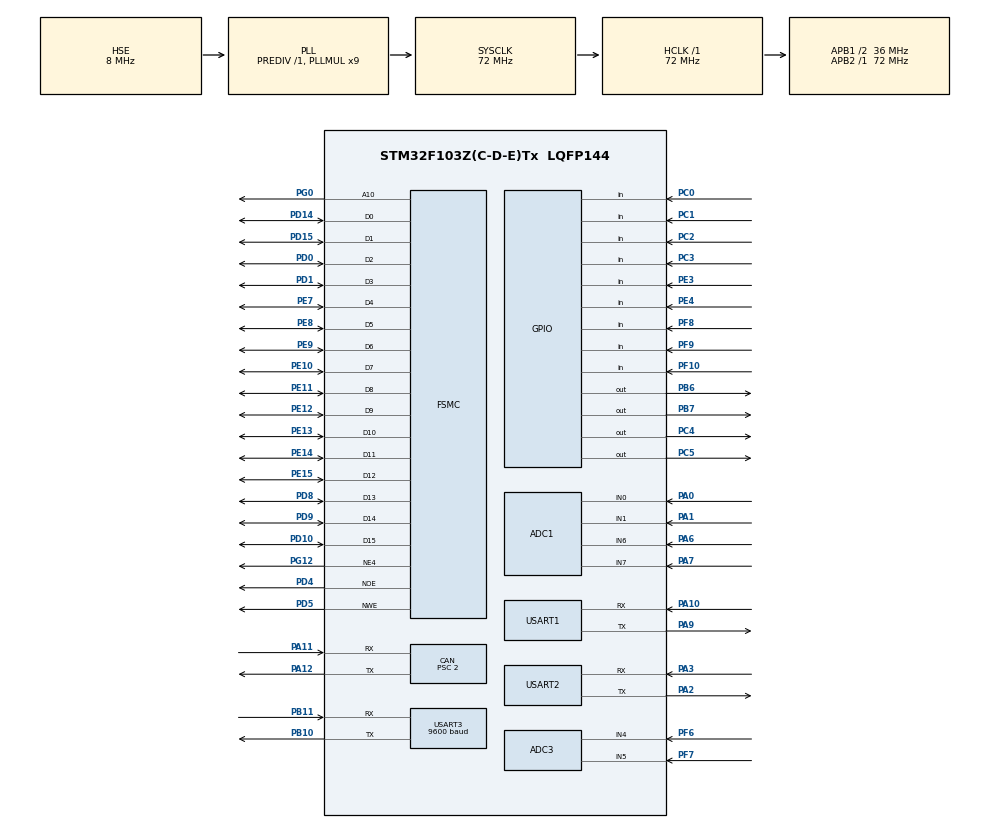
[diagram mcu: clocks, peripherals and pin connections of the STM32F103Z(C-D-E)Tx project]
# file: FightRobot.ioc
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ADC1.Channel-10\#ChannelRegularConversion=ADC_CHANNEL_7
ADC1.Channel-7\#ChannelRegularConversion=ADC_CHANNEL_0
ADC1.Channel-8\#ChannelRegularConversion=ADC_CHANNEL_1
ADC1.Channel-9\#ChannelRegularConversion=ADC_CHANNEL_6
ADC1.DiscontinuousConvMode=ENABLE
ADC1.NbrOfConversion=4
ADC1.NbrOfConversionFlag=1
ADC1.Rank-10\#ChannelRegularConversion=4
ADC1.Rank-7\#ChannelRegularConversion=1
ADC1.Rank-8\#ChannelRegularConversion=2
ADC1.Rank-9\#ChannelRegularConversion=3
ADC1.SamplingTime-10\#ChannelRegularConversion=ADC_SAMPLETIME_55CYCLES_5
ADC1.SamplingTime-7\#ChannelRegularConversion=ADC_SAMPLETIME_55CYCLES_5
ADC1.SamplingTime-8\#ChannelRegularConversion=ADC_SAMPLETIME_55CYCLES_5
ADC1.SamplingTime-9\#ChannelRegularConversion=ADC_SAMPLETIME_55CYCLES_5
ADC1.master=1
ADC3.Channel-2\#ChannelRegularConversion=ADC_CHANNEL_4
ADC3.Channel-3\#ChannelRegularConversion=ADC_CHANNEL_5
ADC3.DiscontinuousConvMode=ENABLE
ADC3.NbrOfConversion=2
ADC3.NbrOfConversionFlag=1
ADC3.Rank-2\#ChannelRegularConversion=1
ADC3.Rank-3\#ChannelRegularConversion=2
ADC3.SamplingTime-2\#ChannelRegularConversion=ADC_SAMPLETIME_55CYCLES_5
ADC3.SamplingTime-3\#ChannelRegularConversion=ADC_SAMPLETIME_55CYCLES_5
CAN.BS1=CAN_BS1_9TQ
CAN.BS2=CAN_BS2_8TQ
CAN.CalculateBaudRate=1000000
CAN.CalculateTimeBit=1000
CAN.CalculateTimeQuantum=55.55555555555556
CAN.Prescaler=2
Dma.Request0=USART2_RX
Dma.USART2_RX.0.Direction=DMA_PERIPH_TO_MEMORY
Dma.USART2_RX.0.Instance=DMA1_Channel6
Dma.USART2_RX.0.MemDataAlignment=DMA_MDATAALIGN_BYTE
Dma.USART2_RX.0.MemInc=DMA_MINC_ENABLE
Dma.USART2_RX.0.Mode=DMA_NORMAL
Dma.USART2_RX.0.PeriphDataAlignment=DMA_PDATAALIGN_BYTE
Dma.USART2_RX.0.PeriphInc=DMA_PINC_DISABLE
Dma.USART2_RX.0.Priority=DMA_PRIORITY_LOW
FREERTOS.Tasks01=defaultTask,2,128,StartDefaultTask,Default,NULL,Dynamic,NULL,NULL;move,1,128,MoveTask,Default,NULL,Dynamic,NULL,NULL;pushBox,0,128,PushBoxTask,Default,NULL,Dynamic,NULL,NULL;scanTask,0,128,ScanTask,Default,NULL,Dynamic,NULL,NULL;openmvConnect,1,128,OpenmvConnect,Default,NULL,Dynamic,NULL,NULL;tset,0,128,Test,Default,NULL,Dynamic,NULL,NULL;tick,2,128,TickTask,Default,NULL,Dynamic,NULL,NULL;key,3,128,KeyTask,Default,NULL,Dynamic,NULL,NULL;xiatai,0,128,XiataiTask,Default,NULL,Dynamic,NULL,NULL
FREERTOS.configLIBRARY_MAX_SYSCALL_INTERRUPT_PRIORITY=5
FREERTOS.configTOTAL_HEAP_SIZE=15360
FREERTOS.configUSE_TIMERS=1
FSMC.AddressSetupTime1=2
FSMC.BusTurnAroundDuration1=0
FSMC.DataSetupTime1=16
FSMC.ExtendedAddressSetupTime1=4
FSMC.ExtendedBusTurnAroundDuration1=0
FSMC.ExtendedDataSetupTime1=9
FSMC.ExtendedMode1=FSMC_EXTENDED_MODE_ENABLE
Mcu.Family=STM32F1
Mcu.Name=STM32F103Z(C-D-E)Tx
Mcu.Package=LQFP144
NVIC.ADC1_2_IRQn=true\:5\:0\:false\:false\:true\:true\:true\:true\:true
NVIC.ADC3_IRQn=true\:5\:0\:false\:false\:true\:true\:true\:true\:true
NVIC.DMA1_Channel6_IRQn=true\:5\:0\:false\:false\:true\:true\:false\:true\:true
NVIC.PriorityGroup=NVIC_PRIORITYGROUP_4
NVIC.TIM1_UP_IRQn=true\:15\:0\:false\:false\:true\:false\:false\:true\:true
NVIC.TimeBase=TIM1_UP_IRQn
NVIC.TimeBaseIP=TIM1
NVIC.USART1_IRQn=true\:5\:0\:true\:false\:true\:true\:true\:true\:true
NVIC.USART2_IRQn=true\:5\:0\:false\:false\:true\:true\:true\:true\:true
NVIC.USART3_IRQn=true\:5\:0\:true\:false\:true\:true\:true\:true\:true
NVIC.USB_LP_CAN1_RX0_IRQn=true\:5\:0\:false\:false\:true\:true\:true\:true\:true
OSC_IN.Mode=HSE-External-Oscillator
OSC_IN.Signal=RCC_OSC_IN
OSC_OUT.Mode=HSE-External-Oscillator
OSC_OUT.Signal=RCC_OSC_OUT
PA0-WKUP.Signal=ADCx_IN0
PA1.Signal=ADCx_IN1
PA10.Mode=Asynchronous
PA10.Signal=USART1_RX
PA11.Mode=CAN_Activate
PA11.Signal=CAN_RX
PA12.Mode=CAN_Activate
PA12.Signal=CAN_TX
PA13.Mode=Serial_Wire
PA13.Signal=SYS_JTMS-SWDIO
PA14.Mode=Serial_Wire
PA14.Signal=SYS_JTCK-SWCLK
PA2.Mode=Asynchronous
PA2.Signal=USART2_TX
PA3.Mode=Asynchronous
PA3.Signal=USART2_RX
PA6.Signal=ADCx_IN6
PA7.Signal=ADCx_IN7
PA9.Mode=Asynchronous
PA9.Signal=USART1_TX
PB10.Mode=Asynchronous
PB10.Signal=USART3_TX
PB11.Mode=Asynchronous
PB11.Signal=USART3_RX
PB6.Signal=GPIO_Output
PB7.Signal=GPIO_Output
PC0.Signal=GPIO_Input
PC1.Signal=GPIO_Input
PC2.Signal=GPIO_Input
PC3.Signal=GPIO_Input
PC4.Signal=GPIO_Output
PC5.Signal=GPIO_Output
PD0.Signal=FSMC_D2_DA2
PD1.Signal=FSMC_D3_DA3
PD10.Signal=FSMC_D15_DA15
PD14.Signal=FSMC_D0_DA0
PD15.Signal=FSMC_D1_DA1
PD4.Signal=FSMC_NOE
PD5.Signal=FSMC_NWE
PD8.Signal=FSMC_D13_DA13
PD9.Signal=FSMC_D14_DA14
PE10.Signal=FSMC_D7_DA7
PE11.Signal=FSMC_D8_DA8
PE12.Signal=FSMC_D9_DA9
PE13.Signal=FSMC_D10_DA10
PE14.Signal=FSMC_D11_DA11
PE15.Signal=FSMC_D12_DA12
PE3.GPIO_PuPd=GPIO_PULLUP
PE3.Signal=GPIO_Input
PE4.GPIO_PuPd=GPIO_PULLUP
PE4.Signal=GPIO_Input
PE7.Signal=FSMC_D4_DA4
PE8.Signal=FSMC_D5_DA5
PE9.Signal=FSMC_D6_DA6
PF10.Signal=GPIO_Input
PF6.Mode=IN4
PF6.Signal=ADC3_IN4
PF7.Mode=IN5
PF7.Signal=ADC3_IN5
PF8.Signal=GPIO_Input
PF9.Signal=GPIO_Input
PG0.Signal=FSMC_A10
PG12.Mode=NorPsramChipSelect4_1
PG12.Signal=FSMC_NE4
ProjectManager.HeapSize=0x200
ProjectManager.StackSize=0x400
ProjectManager.TargetToolchain=MDK-ARM V5.32
RCC.ADCPresc=RCC_ADCPCLK2_DIV6
RCC.AHBFreq_Value=72000000
RCC.APB1CLKDivider=RCC_HCLK_DIV2
RCC.APB1Freq_Value=36000000
RCC.APB1TimFreq_Value=72000000
RCC.APB2Freq_Value=72000000
RCC.APB2TimFreq_Value=72000000
RCC.HCLKFreq_Value=72000000
RCC.PLLMUL=RCC_PLL_MUL9
RCC.PLLSourceVirtual=RCC_PLLSOURCE_HSE
RCC.SYSCLKFreq_VALUE=72000000
RCC.SYSCLKSource=RCC_SYSCLKSOURCE_PLLCLK
RCC.USBFreq_Value=72000000
SH.ADCx_IN0.0=ADC1_IN0,IN0
SH.ADCx_IN1.0=ADC1_IN1,IN1
SH.ADCx_IN6.0=ADC1_IN6,IN6
SH.ADCx_IN7.0=ADC1_IN7,IN7
SH.FSMC_A10.0=FSMC_A10,A10_1
SH.FSMC_D0_DA0.0=FSMC_D0,16b-d1
SH.FSMC_D10_DA10.0=FSMC_D10,16b-d1
SH.FSMC_D11_DA11.0=FSMC_D11,16b-d1
SH.FSMC_D12_DA12.0=FSMC_D12,16b-d1
SH.FSMC_D13_DA13.0=FSMC_D13,16b-d1
SH.FSMC_D14_DA14.0=FSMC_D14,16b-d1
SH.FSMC_D15_DA15.0=FSMC_D15,16b-d1
SH.FSMC_D1_DA1.0=FSMC_D1,16b-d1
SH.FSMC_D2_DA2.0=FSMC_D2,16b-d1
SH.FSMC_D3_DA3.0=FSMC_D3,16b-d1
SH.FSMC_D4_DA4.0=FSMC_D4,16b-d1
SH.FSMC_D5_DA5.0=FSMC_D5,16b-d1
SH.FSMC_D6_DA6.0=FSMC_D6,16b-d1
SH.FSMC_D7_DA7.0=FSMC_D7,16b-d1
SH.FSMC_D8_DA8.0=FSMC_D8,16b-d1
SH.FSMC_D9_DA9.0=FSMC_D9,16b-d1
SH.FSMC_NOE.0=FSMC_NOE,Lcd1
SH.FSMC_NWE.0=FSMC_NWE,Lcd1
USART1.VirtualMode=VM_ASYNC
USART2.VirtualMode=VM_ASYNC
USART3.BaudRate=9600
USART3.VirtualMode=VM_ASYNC
VP_FREERTOS_VS_CMSIS_V1.Mode=CMSIS_V1
VP_SYS_VS_tim1.Mode=TIM1
board=custom

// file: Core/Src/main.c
/* USER CODE BEGIN Header */
/**
  ******************************************************************************
  * @file           : main.c
  * @brief          : Main program body
  ******************************************************************************
  * @attention
  *
  * Copyright (c) 2024 STMicroelectronics.
  * All rights reserved.
  *
  * This software is licensed under terms that can be found in the LICENSE file
  * in the root directory of this software component.
  * If no LICENSE file comes with this software, it is provided AS-IS.
  *
  ******************************************************************************
  */
/* USER CODE END Header */
#include "main.h"
#include "cmsis_os.h"
#include "adc.h"
#include "can.h"
#include "dma.h"
#include "usart.h"
#include "gpio.h"
#include "fsmc.h"

/* USER CODE BEGIN PV */
keys key[4]={0};

/* USER CODE END PV */

void SystemClock_Config(void);
void MX_FREERTOS_Init(void);

int main(void)
{

  /* MCU Configuration--------------------------------------------------------*/

  /* Reset of all peripherals, Initializes the Flash interface and the Systick. */
  HAL_Init();

  /* Configure the system clock */
  SystemClock_Config();

  /* Initialize all configured peripherals */
  MX_GPIO_Init();
  MX_DMA_Init();
  MX_CAN_Init();
  MX_USART1_UART_Init();
  MX_USART3_UART_Init();
  MX_FSMC_Init();
  MX_ADC1_Init();
  MX_ADC3_Init();
  MX_USART2_UART_Init();
  /* USER CODE BEGIN 2 */
	HAL_ADCEx_Calibration_Start(&hadc1);
	HAL_ADCEx_Calibration_Start(&hadc3);
  /* USER CODE END 2 */

  /* Call init function for freertos objects (in freertos.c) */
  MX_FREERTOS_Init();

  /* Start scheduler */
  osKernelStart();

  /* We should never get here as control is now taken by the scheduler */
  /* Infinite loop */
  while (1)
  {

  }
}

void SystemClock_Config(void)
{
  RCC_OscInitTypeDef RCC_OscInitStruct = {0};
  RCC_ClkInitTypeDef RCC_ClkInitStruct = {0};
  RCC_PeriphCLKInitTypeDef PeriphClkInit = {0};

  /** Initializes the RCC Oscillators according to the specified parameters
  * in the RCC_OscInitTypeDef structure.
  */
  RCC_OscInitStruct.OscillatorType = RCC_OSCILLATORTYPE_HSE;
  RCC_OscInitStruct.HSEState = RCC_HSE_ON;
  RCC_OscInitStruct.HSEPredivValue = RCC_HSE_PREDIV_DIV1;
  RCC_OscInitStruct.HSIState = RCC_HSI_ON;
  RCC_OscInitStruct.PLL.PLLState = RCC_PLL_ON;
  RCC_OscInitStruct.PLL.PLLSource = RCC_PLLSOURCE_HSE;
  RCC_OscInitStruct.PLL.PLLMUL = RCC_PLL_MUL9;
  if (HAL_RCC_OscConfig(&RCC_OscInitStruct) != HAL_OK)
  {
    Error_Handler();
  }

  /** Initializes the CPU, AHB and APB buses clocks
  */
  RCC_ClkInitStruct.ClockType = RCC_CLOCKTYPE_HCLK|RCC_CLOCKTYPE_SYSCLK
                              |RCC_CLOCKTYPE_PCLK1|RCC_CLOCKTYPE_PCLK2;
  RCC_ClkInitStruct.SYSCLKSource = RCC_SYSCLKSOURCE_PLLCLK;
  RCC_ClkInitStruct.AHBCLKDivider = RCC_SYSCLK_DIV1;
  RCC_ClkInitStruct.APB1CLKDivider = RCC_HCLK_DIV2;
  RCC_ClkInitStruct.APB2CLKDivider = RCC_HCLK_DIV1;

  if (HAL_RCC_ClockConfig(&RCC_ClkInitStruct, FLASH_LATENCY_2) != HAL_OK)
  {
    Error_Handler();
  }
  PeriphClkInit.PeriphClockSelection = RCC_PERIPHCLK_ADC;
  PeriphClkInit.AdcClockSelection = RCC_ADCPCLK2_DIV6;
  if (HAL_RCCEx_PeriphCLKConfig(&PeriphClkInit) != HAL_OK)
  {
    Error_Handler();
  }
}

void HAL_TIM_PeriodElapsedCallback(TIM_HandleTypeDef *htim)
{
  if (htim->Instance == TIM1) {
    HAL_IncTick();
  }
  /* USER CODE BEGIN Callback 1 */
//	if(htim==&htim6)
//	{
//		key[0].key_sta=HAL_GPIO_ReadPin(GPIOE,GPIO_PIN_4);
//		key[1].key_sta=HAL_GPIO_ReadPin(GPIOE,GPIO_PIN_3);
//		key[2].key_sta=HAL_GPIO_ReadPin(GPIOB,GPIO_PIN_2);
//		key[3].key_sta=HAL_GPIO_ReadPin(GPIOA,GPIO_PIN_0);
//		for(int i=0;i<4;i++)
//		{
//			switch(key[i].jud_sta)
//			{
//				case 0:
//					if(key[i].key_sta==GPIO_PIN_RESET)
//					{
//						key[i].jud_sta=1;
//					}
//				break;
//				case 1:
//					if(key[i].key_sta==GPIO_PIN_RESET)
//					{
//						key[i].jud_sta=2;
//					}
//					else
//					{
//					key[i].jud_sta=0;
//					}
//				break;
//				case 2:
//					if(key[i].key_sta==GPIO_PIN_SET)
//					{
//						if(i==3&&long_time>200){

//							key[i].flag=2;
//							key[i].jud_sta=0;
//							long_time=0;
//						}
//						else{
//						key[i].flag=1;
//						key[i].jud_sta=0;
//						}
//					}
//					else if(key[i].key_sta==GPIO_PIN_RESET&&i==3)
//					{
//						long_time+=1;
//					}
//
//				break;

//			}
//		}
//
//	}
  /* USER CODE END Callback 1 */
}

void Error_Handler(void)
{
  __disable_irq();
  while (1)
  {
  }
}

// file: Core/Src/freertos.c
/* USER CODE BEGIN Header */
/**
  ******************************************************************************
  * File Name          : freertos.c
  * Description        : Code for freertos applications
  ******************************************************************************
  * @attention
  *
  * Copyright (c) 2024 STMicroelectronics.
  * All rights reserved.
  *
  * This software is licensed under terms that can be found in the LICENSE file
  * in the root directory of this software component.
  * If no LICENSE file comes with this software, it is provided AS-IS.
  *
  ******************************************************************************
  */
/* USER CODE END Header */

#include "FreeRTOS.h"
#include "task.h"
#include "main.h"
#include "cmsis_os.h"

/* USER CODE BEGIN Includes */
#include "bsp_can.h"
#include "pid.h"
#include "mytype.h"
#include "bmp.h"
#include "stdio.h"
#include "math.h"
#include "usart.h"
//#include "tim.h"
#include "main.h"
#include "sys.h"
#include "usart.h"
#include "lcd.h"
#include "adc.h"
#include "math.h"

#include "my_uart.h"
/* USER CODE END Includes */

/* USER CODE BEGIN PD */
#define touch_distance 100//待定的推到物块时openmv检测到的距离
/* USER CODE END PD */

/* USER CODE BEGIN Variables */
extern CAN_HandleTypeDef hcan;
extern moto_measure_t moto_chassis[4];
extern uint8_t aRxBuffer;
extern uint8_t RxData;//串口3收到的数据
extern bool find;

extern int tag_id;
extern int x_translation;
extern int x_rotation;
extern keys key[4];
extern int x_translation_no;

s16 torque=500;
uint8_t data[8]={1,2,3,4,5,6,7,8};
uint8_t rxcnt=0;
bool run=0;

uint8_t can_get_flag=4;//要打印需要该值在0-3之间
int set_v,set_spd[4];

char text[20];

bool go_straight=0;
double front_infrafot_distanceL=0; //左边的
double front_infrafot_distanceR=0; //右边的
double left_infrafot_distance=0;
double right_infrafot_distance=0;
double front_dis_err=0;
uint8_t outofstage=0;
uint16_t v_push_box=200;
uint8_t x = 0;
int old_x_translation=0;
uint8_t xiatai_dir=0;//下台面对的方向 不用转：1 要转：2 左边掉：3 右边掉：4
uint8_t xiatai_state=0;//实际下台状态
volatile bool xiatai_change=0;
volatile bool xiatai=0;
volatile bool shangtaiflag=1;
volatile bool tuikuaiflag=1;
//传感器量
volatile uint16_t ADValue1;
volatile uint16_t ADValue2;
volatile uint16_t ADValue3;
volatile uint16_t ADValue4;
float Voltage1;
float Voltage2;
float Voltage3;
float Voltage4;
volatile float L1;
volatile float L2;
volatile float L3;
volatile float L4;
char text[20];
volatile uint16_t GD1;
volatile uint16_t GD2;
volatile uint16_t GD3;
volatile uint16_t GD4;
volatile uint16_t GD5;
volatile uint16_t GD6;
volatile uint16_t GD7;

volatile int HD1;
volatile int HD2;

uint32_t ticktime=0;
uint32_t kuaitime=0;
uint32_t ticktime_last=0;
uint32_t spintime=1000;
uint32_t chaoshitime=2000 NJMI000;
uint32_t tuikuaitime=100000;
uint16_t long_time=0;
uint16_t shangtaitime1=500;//下台后向前撞以对正的时间
uint16_t shangtaitime2=2000;//下台对正后冲上台的时间
uint16_t	zhengduihuiducha=700;//正对灰度差，待测
//uint16_t zhongxinhuidu1=2600;//灰度1的中心灰度，待测
uint16_t zhongxinhuidu1=1600;//灰度1的中心灰度，待测
uint16_t zhongxinhuidu2=3500;//灰度2的中心灰度，待测
uint16_t xiataihuidu1=2200;//灰度1的下台灰度，待测
uint16_t xiataihuidu2=2200;//灰度2的下台灰度，待测

uint16_t turn90=600;
uint16_t turn180=1200;
uint16_t turn360=2200;

bool turn90flag=0;
bool turn180flag=0;
bool turn360flag=0;
bool enermy_go_flag=0;

double JY901_ANGLE1=0;
double JY901_ANGLE2=0;
double JY901_ANGLE3=0;
double JY901_ANGLE4=0;

int mission_on=0;

//实际判断量
bool enermy_find=0;
bool enermy_front=0;
bool enermy_go=0;//这个是只要之前曾经检测到就先撞
bool turn_left=0;
bool turn_right=0;
bool xuntaitest=0;
bool xuntai=0;
bool zhengduitest=1;
bool tuichetest=0;
bool keep_spin=0;
bool huizhong=0;
bool zhengduikuai=0;
bool findkuai=0;
bool find_then_zhengduikuai=1;
bool openmvxuntai=1;
bool x_rotation_flag=1;
bool x_not_change=0;

bool tui=0;
uint8_t kuai=2;

//debug使用
	int vel_che=3500;
	int vel_kuai=1500;
	uint8_t state=0;//0:前进   1:后退   2:前进
	bool state_change=0;
	uint32_t time=0;

#pragma import(__use_no_semihosting)
//标准库需要的支持函数
struct __FILE
{
	int handle;
};

FILE __stdout;
//定义_sys_exit()以避免使用半主机模式
void _sys_exit(int x)
{
	x = x;
}

float pitch,roll,yaw; 		//欧拉角:俯仰角，滚转角，偏航角
short aacx,aacy,aacz;		//加速度传感器原始数据  加速度
short gyrox,gyroy,gyroz;	//陀螺仪原始数据  角速度
short temp;					//MPU温度
uint8_t str_buff[64];
uint8_t str_buff1[64]="俯仰角:";		//pitch
uint8_t str_buff2[64]="偏航角:";		//yaw
uint8_t str_buff3[64]="翻滚角:";		//roll
uint8_t str_buff4[64]="温度值:";

struct MPU6050				//MPU6050结构体
{
	u8 flag;				//采集成功标志位
	u8 speed;				//上报速度
}mpu6050;					//唯一结构体变量

/* USER CODE END Variables */
osThreadId defaultTaskHandle;
osThreadId moveHandle;
osThreadId pushBoxHandle;
osThreadId scanTaskHandle;
osThreadId openmvConnectHandle;
osThreadId tsetHandle;
osThreadId tickHandle;
osThreadId keyHandle;
osThreadId xiataiHandle;

/* USER CODE BEGIN FunctionPrototypes */

/**
  * @brief  MPU6050数据上报
  * @param  无
  * @retval 无
  */

double max(double L)
{
	if(L<80)
		return L;
	else
		return 81.000;
}

//转圈(右)
void spin(int vel)
{
		set_spd[1]=vel;
		set_spd[3]=vel;
		set_spd[2]=vel;
		set_spd[0]=vel;
}

//向前
void forward(int vel)
{
		set_spd[1]=-vel;
		set_spd[3]=vel;
		set_spd[2]=vel;
		set_spd[0]=-vel;
}

void forward_spin(int vel)
{
	if(x_not_change==0){
		set_spd[1]=-(vel);
		set_spd[3]=vel-x_translation/10;
		set_spd[2]=vel-x_translation/10;
		set_spd[0]=-(vel);}
	else
	{
		set_spd[1]=-vel;
		set_spd[3]=vel;
		set_spd[2]=vel;
		set_spd[0]=-vel;
	}
}

void forward_pian(int pianzhi)
{
		set_spd[1]=-(vel_che+pianzhi);
		set_spd[3]=vel_che;
		set_spd[2]=vel_che;
		set_spd[0]=-(vel_che+pianzhi);
}

//上台，前轮转的比后轮快
void shangtai(int vel)
{
		set_spd[0]=vel;
		set_spd[3]=-vel;

//		set_spd[1]=vel/2;
//		set_spd[2]=-vel/2;

}
//右转，不在原地转而是向前转
void zuozhuan(int vel)
{
		set_spd[1]=-vel;
		set_spd[3]=vel/4;
		set_spd[2]=vel/4;
		set_spd[0]=-vel;
}

//左转，不在原地转而是向前转
void youzhuan(int vel)
{
		set_spd[1]=-vel/4;
		set_spd[3]=vel;
		set_spd[2]=vel;
		set_spd[0]=-vel/4;
}

//检测/执行函数
bool hongwai_find(double L)
{
	if(L<80&&L>20)
		return 1;
	else
		return 0;
}

void find_enermy()
{

//	if((GD5==0&&hongwai_find(L1))||(GD5==0&&hongwai_find(L2)))
	if(GD5==0&&hongwai_find(L1)&&hongwai_find(L2))
	{
		if(enermy_go==0){		enermy_go_flag=1;}
		enermy_find=1;
		enermy_front=1;
		turn_left=0;
		turn_right=0;
		enermy_go=1;

	}
	else if(hongwai_find(L1))
	{
		turn_right=1;
		turn_left=0;
		enermy_find=1;
		enermy_front=0;
		keep_spin=0;
	}
	else if(hongwai_find(L2))
	{
		turn_left=1;
		turn_right=0;
		enermy_find=1;
		enermy_front=0;
		keep_spin=0;
	}
	else if(hongwai_find(L3))
	{
		turn_left=1;
		turn_right=0;
		enermy_find=1;
		enermy_front=0;
		keep_spin=1;
	}
	else if(hongwai_find(L4))
	{
		turn_left=1;
		turn_right=0;
		enermy_find=1;
		enermy_front=0;
		keep_spin=1;
	}
	else
	{
		turn_right=0;
		turn_left=0;
		enermy_find=0;
		enermy_front=0;
	}
}

void scan(void)
{

		ADValue1=get_adc(&hadc1);
		ADValue2=get_adc(&hadc1);
		ADValue3=get_adc(&hadc1);
		ADValue4=get_adc(&hadc1);

		HAL_ADC_Stop(&hadc1);

		Voltage1 = (float)ADValue1 / 4095 * 3.3;
		Voltage2 = (float)ADValue2 / 4095 * 3.3;
		Voltage3 = (float)ADValue3 / 4095 * 3.3;
		Voltage4 = (float)ADValue4 / 4095 * 3.3;

    L1= max(61.119*pow(Voltage1,-1.092));
    L2= max(61.119*pow(Voltage2,-1.092));
    L3= max(61.119*pow(Voltage3,-1.092));
    L4= max(61.119*pow(Voltage4,-1.092));

			if(GD1&&GD2)
			{
				xiatai_dir=1;
				xiatai_change=1;
			}
			else if(GD3&&GD4)
			{
				xiatai_dir=2;
				xiatai_change=1;
			}
			else if(GD1&&GD3)
			{
				xiatai_dir=3;
				xiatai_change=1;
			}
			else if(GD2&&GD4)
			{
				xiatai_dir=4;
				xiatai_change=1;
			}

		find_enermy();

}

/* USER CODE END FunctionPrototypes */

void StartDefaultTask(void const * argument);
void MoveTask(void const * argument);
void PushBoxTask(void const * argument);
void ScanTask(void const * argument);
void OpenmvConnect(void const * argument);
void Test(void const * argument);
void TickTask(void const * argument);
void KeyTask(void const * argument);
void XiataiTask(void const * argument);

void MX_FREERTOS_Init(void); /* (MISRA C 2004 rule 8.1) */

/* GetIdleTaskMemory prototype (linked to static allocation support) */
void vApplicationGetIdleTaskMemory( StaticTask_t **ppxIdleTaskTCBBuffer, StackType_t **ppxIdleTaskStackBuffer, uint32_t *pulIdleTaskStackSize );

/* GetTimerTaskMemory prototype (linked to static allocation support) */
void vApplicationGetTimerTaskMemory( StaticTask_t **ppxTimerTaskTCBBuffer, StackType_t **ppxTimerTaskStackBuffer, uint32_t *pulTimerTaskStackSize );

/* USER CODE BEGIN GET_IDLE_TASK_MEMORY */
static StaticTask_t xIdleTaskTCBBuffer;
static StackType_t xIdleStack[configMINIMAL_STACK_SIZE];

void vApplicationGetIdleTaskMemory( StaticTask_t **ppxIdleTaskTCBBuffer, StackType_t **ppxIdleTaskStackBuffer, uint32_t *pulIdleTaskStackSize )
{
  *ppxIdleTaskTCBBuffer = &xIdleTaskTCBBuffer;
  *ppxIdleTaskStackBuffer = &xIdleStack[0];
  *pulIdleTaskStackSize = configMINIMAL_STACK_SIZE;
  /* place for user code */
}
/* USER CODE END GET_IDLE_TASK_MEMORY */

/* USER CODE BEGIN GET_TIMER_TASK_MEMORY */
static StaticTask_t xTimerTaskTCBBuffer;
static StackType_t xTimerStack[configTIMER_TASK_STACK_DEPTH];

void vApplicationGetTimerTaskMemory( StaticTask_t **ppxTimerTaskTCBBuffer, StackType_t **ppxTimerTaskStackBuffer, uint32_t *pulTimerTaskStackSize )
{
  *ppxTimerTaskTCBBuffer = &xTimerTaskTCBBuffer;
  *ppxTimerTaskStackBuffer = &xTimerStack[0];
  *pulTimerTaskStackSize = configTIMER_TASK_STACK_DEPTH;
  /* place for user code */
}
/* USER CODE END GET_TIMER_TASK_MEMORY */

void MX_FREERTOS_Init(void) {

  /* Create the thread(s) */
  /* definition and creation of defaultTask */
  osThreadDef(defaultTask, StartDefaultTask, osPriorityHigh, 0, 128);
  defaultTaskHandle = osThreadCreate(osThread(defaultTask), NULL);

  /* definition and creation of move */
  osThreadDef(move, MoveTask, osPriorityAboveNormal, 0, 128);
  moveHandle = osThreadCreate(osThread(move), NULL);

  /* definition and creation of pushBox */
//  osThreadDef(pushBox, PushBoxTask, osPriorityNormal, 0, 128);
//  pushBoxHandle = osThreadCreate(osThread(pushBox), NULL);

  /* definition and creation of scanTask */
  osThreadDef(scanTask, ScanTask, osPriorityNormal, 0, 128);
  scanTaskHandle = osThreadCreate(osThread(scanTask), NULL);

  /* definition and creation of openmvConnect */
//  osThreadDef(openmvConnect, OpenmvConnect, osPriorityAboveNormal, 0, 128);
//  openmvConnectHandle = osThreadCreate(osThread(openmvConnect), NULL);

  /* definition and creation of tset */
  osThreadDef(tset, Test, osPriorityNormal, 0, 128);
  tsetHandle = osThreadCreate(osThread(tset), NULL);

//  /* definition and creation of tick */
  osThreadDef(tick, TickTask, osPriorityHigh, 0, 128);
  tickHandle = osThreadCreate(osThread(tick), NULL);

  /* definition and creation of key */
  osThreadDef(key, KeyTask, osPriorityRealtime, 0, 128);
  keyHandle = osThreadCreate(osThread(key), NULL);

  /* definition and creation of xiatai */
  osThreadDef(xiatai, XiataiTask, osPriorityNormal, 0, 128);
  xiataiHandle = osThreadCreate(osThread(xiatai), NULL);

}

/* USER CODE BEGIN Header_StartDefaultTask */
extern UART_HandleTypeDef huart1;
extern UART_HandleTypeDef huart3;
extern uint8_t aRxBuffer;			//接收中断缓冲
/**
  * @brief  Function implementing the defaultTask thread.
  * @param  argument: Not used
  * @retval None
  */
/* USER CODE END Header_StartDefaultTask */
void StartDefaultTask(void const * argument)
{
  /* USER CODE BEGIN StartDefaultTask */
	HAL_UART_Receive_IT(&huart1, (uint8_t *)&aRxBuffer, 1);
	HAL_UART_Receive_IT(&huart3, (uint8_t *)&RxData, 1);

	lcd_init();
	CAN_Filter_Config();
	HAL_CAN_Start(&hcan);
	HAL_CAN_ActivateNotification(&hcan,CAN_IT_RX_FIFO0_MSG_PENDING);
	User_USART_Init(&JY901_data);
//	while(mpu_dmp_init())                            //初始化mpu_dmp库
// 	{
//		printf("Initialization failed！\r\n");		//串口初始化失败上报
//	}
	mpu6050.flag = 0;          //采集成功标志位初始化
	mpu6050.speed = 0;				//上报速度初始化
//	HAL_TIM_Base_Start_IT(&htim6);

	printf("OK\r\n");
	PID_struct_init(&pid_apriltag_x, POSITION_PID, 500, 500,
								1.5f,	0.1f,	0.0f	);  //待调
	pid_apriltag_x.deadband=1000;//待调
	PID_struct_init(&pid_apriltag_d, POSITION_PID, 500, 500,
								1.5f,	0.1f,	0.0f	);//待调
	pid_apriltag_d.deadband=1000;//待调

  lcd_clear(BLACK);

  osThreadDef(tick, TickTask, osPriorityHigh, 0, 128);
  tickHandle = osThreadCreate(osThread(tick), NULL);
  osThreadDef(key, KeyTask, osPriorityRealtime, 0, 128);
  keyHandle = osThreadCreate(osThread(key), NULL);

	vTaskDelete(xiataiHandle);
//	forward(vel);
//	spin(vel);

  /* Infinite loop */
  for(;;)
  {
//		if(key[1].flag==1)
//		{
//			vel_che+=100;
//			key[1].flag=0;
//		}

//		sprintf(text,"vel_che=%d",vel_che);
//		lcd_show_string(10, 140, 60, 32, 16, text, RED);

		ADValue1=get_adc(&hadc1);
		ADValue2=get_adc(&hadc1);
		ADValue3=get_adc(&hadc1);
		ADValue4=get_adc(&hadc1);

		HAL_ADC_Stop(&hadc1);

		Voltage1 = (float)ADValue1 / 4095 * 3.3;
		Voltage2 = (float)ADValue2 / 4095 * 3.3;
		Voltage3 = (float)ADValue3 / 4095 * 3.3;
		Voltage4 = (float)ADValue4 / 4095 * 3.3;

    L1= max(61.119*pow(Voltage1,-1.092));
    L2= max(61.119*pow(Voltage2,-1.092));
    L3= max(61.119*pow(Voltage3,-1.092));
    L4= max(61.119*pow(Voltage4,-1.092));

//		sprintf(text,"L1=%f",L1);
//		lcd_show_string(10, 60, 120, 32, 16, text, RED);
//

//		sprintf(text,"L2=%f",L2);
//		lcd_show_string(10, 80, 120, 32, 16, text, RED);

//		sprintf(text,"L3=%f",L3);
//		lcd_show_string(10, 100, 120, 32, 16, text, RED);

//		sprintf(text,"L4=%f",L4);
// 		lcd_show_string(10, 120, 120, 32, 16, text, RED);
    osDelay(10);
  }

  /* USER CODE END StartDefaultTask */
}

void MoveTask(void const * argument)
{
  /* USER CODE BEGIN MoveTask */
//	while(key[1].flag!=1){}

//		set_spd[1]=	-3000;
//		set_spd[3]=3000;
//		set_spd[2]=3000;
//		set_spd[0]=-3000;

	for(int i=0; i<4; i++)
	{
		PID_struct_init(&pid_spd[i], POSITION_PID, 20000, 20000,
									1.5f,	0.1f,	0.0f	);  //4 motos angular rate closeloop.
		pid_spd[i].deadband=50;
	}

	while(key[0].flag!=1)
	{
		printf("L3:%f\r\n",L3);
		printf("L4:%f\r\n",L4);
		printf("key[0].flag:%d\r\n",key[0].flag);
	}

	ticktime=0;
	vTaskDelete(defaultTaskHandle);

  /* Infinite loop */
  for(;;)
  {

			for(int i=0; i<4; i++)
			{
				pid_calc(&pid_spd[i], moto_chassis[i].speed_rpm, set_spd[i]);
			}
			set_moto_current(&hcan, pid_spd[0].pos_out,
									pid_spd[1].pos_out,
									pid_spd[2].pos_out,
									pid_spd[3].pos_out);
		if(can_get_flag==0||can_get_flag==1||can_get_flag==2||can_get_flag==3)
		{
//			printf("电机 %d : angle=%d ; speed: %d; current: %d; temp:%d\r\n",
//										can_get_flag,moto_chassis[can_get_flag].total_angle,moto_chassis[can_get_flag].speed_rpm,
//										moto_chassis[can_get_flag].given_current,moto_chassis[can_get_flag].hall);
//			can_get_flag=4;
		}
//			printf("id:%d\r\n",tag_id);
//			printf("x_translation:%d\r\n",x_translation);
//			printf("hongwai_find(L1):%d  ",hongwai_find(L1));
//			printf("hongwai_find(L2):%d  ",hongwai_find(L2));
//			printf("enermy_go:%d  ",enermy_go);
//			printf("enermy_front:%d\r\n",enermy_front);
//			printf("kuaitime:%d",kuaitime);
//			printf("zhengduikuai:%d\r\n",zhengduikuai);

//			printf("x_rotation:%d\r\n",x_rotation);
//			printf("%d\r\n",x_rotation-1800000);
			if(x_not_change==0)
				printf("find");

//打印lcd信息
//		if(turn_left)
//		{
//			sprintf(text,"turn_left");
//		}
//		else if(turn_right)
//		{
//			sprintf(text,"turnright");
//		}
//		else
//		{
//			sprintf(text,"no___turn");
//		}
//		strcat(text,"-----");
//		if(enermy_find&&enermy_front)
//		{
//			strcat(text,"go!!");
//		}
//
//		else if(enermy_find)
//		{
//			strcat(text,"find");
//		}
//		else
//		{
//			strcat(text,"nooo");
//		}
//		lcd_show_string(10, 140, 150, 32, 16, text, RED);
//		if(xiatai)
//		{
//			sprintf(text,"XIATAI");
//			lcd_show_string(10, 60, 120, 32, 16, text, RED);
//		}

//		sprintf(text,"L1=%F",L1);
//		lcd_show_string(10, 60, 120, 32, 16, text, RED);
////

//		sprintf(text,"L2=%f",L2);
//		lcd_show_string(10, 80, 120, 32, 16, text, RED);

//		sprintf(text,"L3=%f",L3);
//		lcd_show_string(10, 100, 120, 32, 16, text, RED);

//		sprintf(text,"L4=%f",L4);
// 		lcd_show_string(10, 120, 120, 32, 16, text, RED);

//		sprintf(text,"GD1=%d",GD1);
//		lcd_show_string(10, 80, 120, 32, 16, text, RED);
////

//		sprintf(text,"GD2=%d",GD2);
//		lcd_show_string(10, 100, 120, 32, 16, text, RED);

//		sprintf(text,"GD3=%d",GD3);
//		lcd_show_string(10, 120, 120, 32, 16, text, RED);

//		sprintf(text,"GD4=%d",GD4);
// 		lcd_show_string(10, 140, 120, 32, 16, text, RED);
//
//		sprintf(text,"GD5=%d",GD5);
// 		lcd_show_string(10, 160, 120, 32, 16, text, RED);
//
//		sprintf(text,"GD6=%d",GD6);
// 		lcd_show_string(10, 180, 120, 32, 16, text, RED);

		GD1=HAL_GPIO_ReadPin(GPIOC,GPIO_PIN_0);
//		sprintf(text,"GD1=%u",GD1);
//		if(GD1){forward(-2000);}
//		if(GD1==1){		set_spd[1]=	0;
//		set_spd[3]=0;
//		set_spd[2]=0;
//		set_spd[0]=0;}
//		else{		set_spd[1]=	1800;
//		set_spd[3]=-1800;
//		set_spd[2]=-1800;
//		set_spd[0]=1800;}
//		lcd_show_string(10, 160, 240, 32, 16, text, RED);

		GD2=0;
//		sprintf(text,"GD2=%u",GD2);
//		if(GD2){forward(-2000);}
//		lcd_show_string(10, 180, 240, 32, 16, text, RED);

		GD3=0;
//		sprintf(text,"GD3=%u",GD3);
//		if(GD3){forward(2000);}
//		lcd_show_string(10, 200, 240, 32, 16, text, RED);

		GD4=HAL_GPIO_ReadPin(GPIOC,GPIO_PIN_3);
//		sprintf(text,"GD4=%u",GD4);
//		if(GD4){forward(2000);}
//		lcd_show_string(10, 220, 240, 32, 16, text, RED);

		GD5=HAL_GPIO_ReadPin(GPIOF,GPIO_PIN_10);
//		sprintf(text,"GD5=%u",GD5);
//		lcd_show_string(10, 180, 240, 32, 16, text, RED);

		GD6=HAL_GPIO_ReadPin(GPIOF,GPIO_PIN_8);
//		sprintf(text,"GD6=%u",GD6);
//		if(GD6){vel_che=5000;}
//		else {vel_che=2000;}

		GD7=HAL_GPIO_ReadPin(GPIOF,GPIO_PIN_7);
//		sprintf(text,"GD7=%u",GD7);

		HD1=get_adc(&hadc3);
		HD2=get_adc(&hadc3);

		HAL_ADC_Stop(&hadc3);

//		sprintf(text,"HD1=%u",HD1);
//		lcd_show_string(10, 200, 240, 32, 16, text, RED);
//
//		sprintf(text,"HD2=%u",HD2);
//		lcd_show_string(10, 220, 240, 32, 16, text, RED);

//		sprintf(text,"HD2-HD1=%d",HD2-HD1);
//		lcd_show_string(10, 240, 240, 32, 16, text, RED);
//
//
//		sprintf(text,"xiataistate=%u",xiatai_state);
//		lcd_show_string(10, 240, 240, 32, 16, text, RED);

//		sprintf(text,"ticktime=%u",ticktime);
//		lcd_show_string(10, 20, 240, 32, 16, text, RED);

//		sprintf(text,"e:%u",enermy_front);
//		lcd_show_string(10, 20, 240, 32, 16, text, RED);
//		sprintf(text,"x_not_change=%u",x_not_change);
//		lcd_show_string(10, 40, 240, 32, 16, text, RED);

//		printf("%d\r\n",mission_on);

//		if(key[1].flag!=1)
//		{
//			forward(0);
//			vTaskDelete(NULL);
//		}

//		if(key[0].flag==1){forward(0);vTaskDelete(NULL);}
		osDelay(10);
  }
  /* USER CODE END MoveTask */
}

void PushBoxTask(void const * argument)
{
  /* USER CODE BEGIN PushBoxTask */

//	spin(-1200);
//	osDelay(1500);
//	if(shangtaiflag)
//	{
		forward(-5500);
		osDelay(3000);
////		shangtaiflag=0;
//		spin(2000);
//		osDelay(turn90);
//		forward(0);
//		osDelay(20000);
//	}
  /* Infinite loop */
  for(;;)
  {
		mission_on=1;

		if(HD1<xiataihuidu1&&HD2<xiataihuidu2)
			{
				xiatai=1;
				osThreadDef(xiatai, XiataiTask, osPriorityNormal, 0, 128);
				xiataiHandle = osThreadCreate(osThread(xiatai), NULL);
				vTaskDelete(openmvConnectHandle);
				openmvConnectHandle=NULL;
				vTaskDelete(NULL);
				openmvxuntai=0;
			}
			else if(GD1||GD2)
			{
				xiatai_dir=1;
				tui=1;
				forward(-2000);
				osDelay(500);
				forward(0);
				osDelay(200);
				spin(-1200);
				osDelay(200);
				if(zhengduikuai==1)
				{
					zhengduikuai=0;
					findkuai=0;
					find_then_zhengduikuai=1;
					x_translation=0;
					kuai--;
					openmvxuntai=1;
				}
				else if(findkuai)
				{
					findkuai=0;
				}
			}
			else if(GD3||GD4)
			{
				tui=1;
				findkuai=0;
				forward(2000);
				osDelay(500);
			}
			else 	if(kuaitime>=2000)
			{
				zhengduikuai=0;
				findkuai=0;
				find_then_zhengduikuai=1;
				x_translation=0;
				kuaitime=0;
				openmvxuntai=1;
			}
			else if(zhengduikuai)
			{
				forward_spin(vel_kuai);
			}
			else if(turn360flag)
			{
				turn360flag=0;
				spin(-2000);
				osDelay(turn360);
			}
		//openmvconnect代码本来的地方

		if(openmvxuntai&&x_translation==0)
		{
			if(GD1||GD2)
			{
				tui=1;
				forward(-2000);
				osDelay(500);
				forward(0);
				osDelay(200);
				spin(-1200);
				osDelay(200);
				if(zhengduikuai==1)
				{
					zhengduikuai=0;
					findkuai=0;
					find_then_zhengduikuai=1;
					x_translation=0;
					kuai--;
				}
				else if(findkuai)
				{
					findkuai=0;
				}
			}
			else if(GD3||GD4)
			{
				tui=1;
				findkuai=0;
				forward(2000);
				osDelay(500);
			}
//			else
//			{
//				spin(600);
//			}

			else if(HD1<xiataihuidu1&&HD2<xiataihuidu2)
			{
				xiatai=1;
				osThreadDef(xiatai, XiataiTask, osPriorityNormal, 0, 128);
				xiataiHandle = osThreadCreate(osThread(xiatai), NULL);
				vTaskDelete(openmvConnectHandle);
				openmvConnectHandle=NULL;
				vTaskDelete(NULL);
				openmvxuntai=0;
			}
			else if(HD1<zhongxinhuidu1&&(zhengduikuai!=1))
			{
				spin(-1200);
				osDelay(500);
				forward(vel_kuai);
				osDelay(200);

			}
			else
			{
				forward(vel_kuai);
			}

		}

    osDelay(5);
  }
  /* USER CODE END PushBoxTask */
}

void ScanTask(void const * argument)
{
  /* USER CODE BEGIN ScanTask */

  /* Infinite loop */
  for(;;)
  {
		mission_on=2;
		scan();//需要赋值的：红外：FL,FR,l,r；光电：outofstage(是否和哪边出台)

    osDelay(10);
  }
  /* USER CODE END ScanTask */
}

void OpenmvConnect(void const * argument)
{
  /* USER CODE BEGIN OpenmvConnect */

  /* Infinite loop */
  for(;;)
  {
		mission_on=3;
		static bool deleteflag=0;//把pushbox删除标志位
//		if(tui&&(GD1||GD2||GD3||GD4))
//		{
//			spin(600);
//		}
	if(find_then_zhengduikuai)
	{
//		if((x_rotation-1800000)>150000)
//		{
////			youzhuan(800);
////			osDelay(800);
////			spin(-600);
////			osDelay(500);
//			spin(600);
//			osDelay(500);
//			forward(1000);
//			osDelay(600);
//			spin(-600);
//			osDelay(600);
//		}
//		else if((x_rotation-1800000)<-150000)
//		{
////			zuozhuan(800);
////			osDelay(800);
////			spin(400);
////			osDelay(500);
//			spin(-600);
//			osDelay(500);
//			forward(1000);
//			osDelay(600);
//			spin(600);
//			osDelay(600);
//		}
//		else
//			x_rotation_flag=1;
		if(x_rotation_flag)
		{
			if(x_translation!=0)
			{
				//直接干掉推块进程
				if(findkuai!=1)
				{
					kuaitime=0;
					vTaskDelete(pushBoxHandle);
					pushBoxHandle=NULL;
					deleteflag=1;
				}
				openmvxuntai=0;
				if(kuaitime>=2000)
				{
					find_then_zhengduikuai=1;
					x_translation=0;
					findkuai=0;
					zhengduikuai=0;
					openmvxuntai=1;
					kuaitime=0;
					if(deleteflag)
					{
						osThreadDef(pushBox, PushBoxTask, osPriorityNormal, 0, 128);
						pushBoxHandle = osThreadCreate(osThread(pushBox), NULL);
						deleteflag=0;
					}
				}
				else if(x_translation>800)
				{
					spin(-300);
					findkuai=1;
				}
				else if(x_translation<-800)
				{
					spin(300);
					findkuai=1;
				}
				else
				{
		//			zhengduikuaitest=0;
//					if(zhengduiflag==1)
//					{
//					forward(0);
//					osDelay(200);
//					}
//					forward_spin(vel_kuai);
					forward(0);
					find_then_zhengduikuai=0;
					findkuai=1;
					zhengduikuai=1;
					openmvxuntai=0;
					if(deleteflag)
					{
						osThreadDef(pushBox, PushBoxTask, osPriorityNormal, 0, 128);
						pushBoxHandle = osThreadCreate(osThread(pushBox), NULL);
						deleteflag=0;
					}
				}

			}
		}
	}

		if(kuai==0||ticktime>=tuikuaitime)
		{
			osThreadDef(tset, Test, osPriorityNormal, 0, 128);
			tsetHandle = osThreadCreate(osThread(tset), NULL);
			tuikuaiflag=0;
			vTaskDelete(pushBoxHandle);
			vTaskDelete(NULL);
		}
    osDelay(5);
  }
  /* USER CODE END OpenmvConnect */
}

void Test(void const * argument)
{
  /* USER CODE BEGIN Test */
//	spin(800);
//	shangtai(4500);
	forward(-5000);
	osDelay(2000);
  /* Infinite loop */
	//state: 0前进 1后退 2旋转
  for(;;)
  {
		mission_on=4;
		/*检测台边回中检测逻辑：
		-->起始0--检测到台边-->1--回到台中(ticktime>time)-->2
		|																									  |
		-------------------<--转一定角度(ticktime>spintime)--

		*/

//		forward(0);
		if(HD1<xiataihuidu1&&HD2<xiataihuidu2)
		{
			xiatai=1;
			osThreadDef(xiatai, XiataiTask, osPriorityNormal, 0, 128);
			xiataiHandle = osThreadCreate(osThread(xiatai), NULL);
			vTaskDelete(NULL);
		}
		if(GD1||GD2)
		{
			forward(-2000);
			osDelay(500);
			enermy_front=0;
			enermy_go=0;
		}
		else if(GD3||GD4)
		{
			forward(2000);
			osDelay(500);
			enermy_front=0;
			enermy_go=0;
		}
		else
		{
			spin(800);
		}
//
//		if(HD1<xiataihuidu1&&HD2<xiataihuidu2)
//		{
//			xiatai=1;
//			osThreadDef(xiatai, XiataiTask, osPriorityNormal, 0, 128);
//			xiataiHandle = osThreadCreate(osThread(xiatai), NULL);
//			vTaskDelete(NULL);
//		}
////		else if(huizhong)
////		{
////			if(abs(HD1-HD2)>zhengduihuiducha)
////			{
////				if(HD1>HD2)
////					forward(-vel);
////				else
////					forward(vel);
////			}
//		if(GD1||GD2)
//		{
//			forward(-2000);
//			osDelay(500);
//			enermy_front=0;
//			enermy_go=0;
//		}
//		else if(GD3||GD4)
//		{
//			forward(2000);
//			osDelay(500);
//			enermy_front=0;
//			enermy_go=0;
//		}
////		else if(HD1<zhongxinhuidu1&&enermy_go==0)
////		{
////			if(HD2-HD1>zhengduihuiducha)
////			{

////				forward(-3000);
////				while(HD1>zhongxinhuidu1+100)
////					{
////						if(GD1||GD2)
////						{
////							forward(-2000);
////							osDelay(1000);
////							enermy_front=0;
////							enermy_go=0;
////						}
////						else if(GD3||GD4)
////						{
////							forward(2000);
////							osDelay(1000);
////							enermy_front=0;
////							enermy_go=0;
////						}
////					}
////			}
//////			else spin(1000);
////		}
//				if(enermy_front&&(x_translation_no<5000&&x_translation_no>-5000))
//				{
//					keep_spin=0;
//					if(enermy_go_flag){forward(0);osDelay(50);enermy_go_flag=0;}
//					else
//					{
//						forward(vel_che);
//					}
//				}
//				else if(enermy_go&&((x_translation_no>10000&&x_translation_no<-10000)||(x_translation_no==0)))
//				{
//					{
//					if(hongwai_find(L2))
//						forward_pian(-400);
////							forward(vel_che);
//					else if(hongwai_find(L1))
//						forward_pian(400);
////						forward(vel_che);
//					else if((hongwai_find(L1)==0)&&(hongwai_find(L2)==0))enermy_go=0;
//					}
//				}
//				else if(turn_left)
//				{
//						spin(-800);
//				}
//				else if(turn_right)
//				{
//						spin(800);
//				}
//		else if(keep_spin==0)
//		{
//						spin(800);
//		}

////		}

//		else if(xuntaitest)
//		{
//			if(state==0)
//			{
//				if(GD1||GD2||GD3||GD4)//记得把GD2加回来
//				{
//					state=1;
//					state_change=1;
//				}
//			}
//
//			if(state_change==1)
//			{
//				switch(state)
//				{
//					case 0:
//						ticktime=0;
//						forward(vel);
//						state_change=0;
//						break;
//					case 1:
//						time=ticktime;
//						ticktime=0;
//						forward(-vel);
//						osDelay(time);
//						state=2;
//						state_change=1;
//						break;
//					case 2:
//						ticktime=0;
//						spin(600);
//						osDelay(spintime);
//						state=0;
//						state_change=1;

//						break;
//				}

//				lcd_clear(BLACK);
//			}
//
//
//		}
//

    osDelay(10);
  }
  /* USER CODE END Test */
}

void TickTask(void const * argument)
{
  /* USER CODE BEGIN TickTask */
  /* Infinite loop */
  for(;;)
  {
		if(findkuai){kuaitime++;}
		mission_on=5;
		ticktime+=10;
//		if(xuntaitest)
//		{
//			if(state==0)
//			{
//
//			}
//			else if(state==1)
//			{
//				if(ticktime>time)
//				{
//					state=2;
//					state_change=1;
//				}
//			}
//			else
//			{
//				if(ticktime>spintime)
//				{
//					state=0;
//					state_change=1;
//				}
//			}
//		}
	if(tuikuaiflag&&((ticktime%20000)==0))
	{
		turn360flag=1;
	}

	if(xiatai_change&&(xiatai==0))
	{

		if(xiatai_state==0)
		{
			xiatai_state=xiatai_dir;
		}
		else
		{
			if(ticktime-ticktime_last>1000)
			{
				xiatai_state=xiatai_dir;
			}
		}
		ticktime_last=ticktime;
		xiatai_change=0;
	}

	if(ticktime%3==0)
	{
		if(old_x_translation==x_translation)
			x_not_change=1;
		else
			x_not_change=0;
		old_x_translation=x_translation;
	}

	if(ticktime>=chaoshitime)
	{
		vTaskDelete(scanTaskHandle);
		vTaskDelete(moveHandle);
		lcd_clear(BLACK);
//		sprintf(text,"-----------timeout-----------");
		lcd_show_string(10, 160, 240, 32, 16, text, RED);

	}

    osDelay(10);
  }
  /* USER CODE END TickTask */
}

void KeyTask(void const * argument)
{
  /* USER CODE BEGIN KeyTask */
  /* Infinite loop */
  for(;;)
  {
		mission_on=6;
		key[0].key_sta=HAL_GPIO_ReadPin(GPIOE,GPIO_PIN_4);
		key[1].key_sta=HAL_GPIO_ReadPin(GPIOE,GPIO_PIN_3);
		key[2].key_sta=HAL_GPIO_ReadPin(GPIOB,GPIO_PIN_2);
		key[3].key_sta=HAL_GPIO_ReadPin(GPIOA,GPIO_PIN_0);
		for(int i=0;i<4;i++)
		{
			switch(key[i].jud_sta)
			{
				case 0:
					if(key[i].key_sta==GPIO_PIN_RESET)
					{
						key[i].jud_sta=1;

					}
				break;
				case 1:
					if(key[i].key_sta==GPIO_PIN_RESET)
					{
						key[i].jud_sta=2;
					}
					else
					{
					key[i].jud_sta=0;
					}
				break;
				case 2:
					if(key[i].key_sta==GPIO_PIN_SET)
					{
						if(i==3&&long_time>200){

							key[i].flag=2;
							key[i].jud_sta=0;
							long_time=0;
						}
						else{
						key[i].flag=1;
						key[i].jud_sta=0;
						vTaskDelete(NULL);
						}
					}
					else if(key[i].key_sta==GPIO_PIN_RESET&&i==3)
					{
						long_time+=10;
					}

				break;

			}
		}
		if((L3!=0)&&(L4!=0)&&(L4<40)&&(L3<40))
		{
			key[0].flag=1;
		}

    osDelay(10);
  }
  /* USER CODE END KeyTask */
}

void XiataiTask(void const * argument)
{
  /* USER CODE BEGIN XiataiTask */
		forward(0);
		osDelay(500);
  /* Infinite loop */
  for(;;)
  {
		mission_on=7;
//		if(xiatai_state==1)
//		{
//			forward(3000);
//			osDelay(1000);
//			forward(-4000);
//			osDelay(3500);
//		}
//		else if(xiatai_state==2)
//		{
//			spin(2000);
//			osDelay(1200);
//			forward(3000);
//			osDelay(1000);
//			forward(-4000);
//			osDelay(3500);
//		}
//		else if(xiatai_state==3)
//		{
//			zuozhuan(2000);
//			osDelay(1200);
//			forward(3000);
//			osDelay(1500);
//			forward(-4000);
//			osDelay(3500);
//		}
//		else if(xiatai_state==4)
//		{
//			youzhuan(2000);
//			osDelay(1200);
//			forward(3000);
//			osDelay(1500);
//			forward(-4000);
//			osDelay(3500);
//		}

		if(GD6==0)
		{
			forward(0);
			osDelay(100);
			forward(3000);
			osDelay(1000);
			forward(-5000);
			osDelay(2500);
		}
		else
			spin(2000);
//		ticktime=0;
//		forward(-2000);
//		while(ticktime>shangtaitime1)
//		{}
//		forward(2000);
//		while(ticktime>shangtaitime2)//定死延时
//		{}

	  while(HD1>xiataihuidu1&&HD2>xiataihuidu1)//灰度判断{}
		{

		osThreadDef(tset, Test, osPriorityNormal, 0, 128);
		tsetHandle = osThreadCreate(osThread(tset), NULL);
		vTaskDelete(NULL);
		}
    osDelay(1);
  }
  /* USER CODE END XiataiTask */
}
